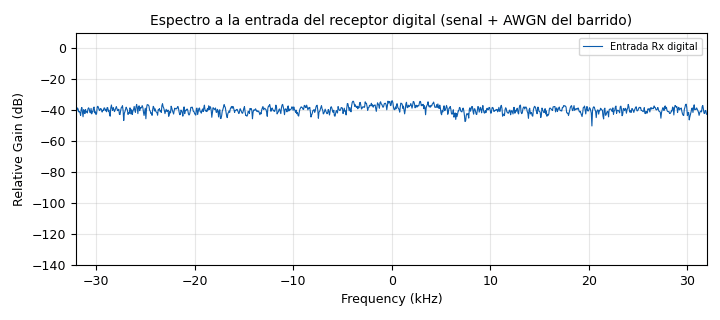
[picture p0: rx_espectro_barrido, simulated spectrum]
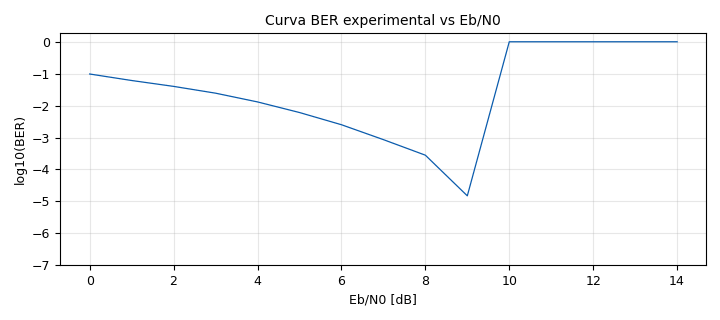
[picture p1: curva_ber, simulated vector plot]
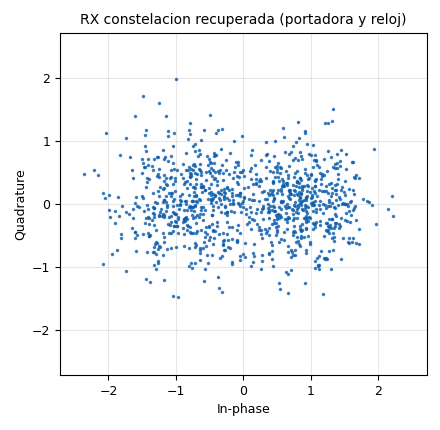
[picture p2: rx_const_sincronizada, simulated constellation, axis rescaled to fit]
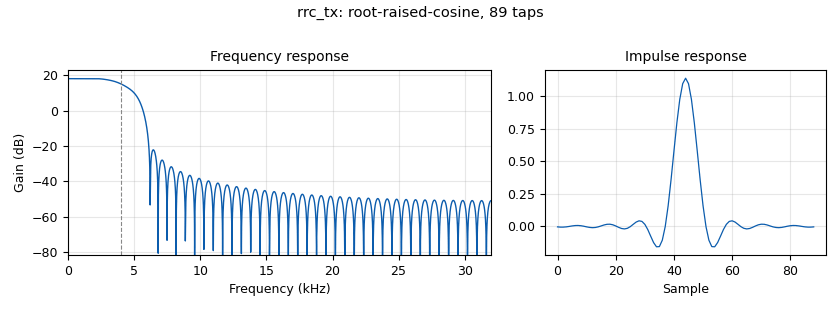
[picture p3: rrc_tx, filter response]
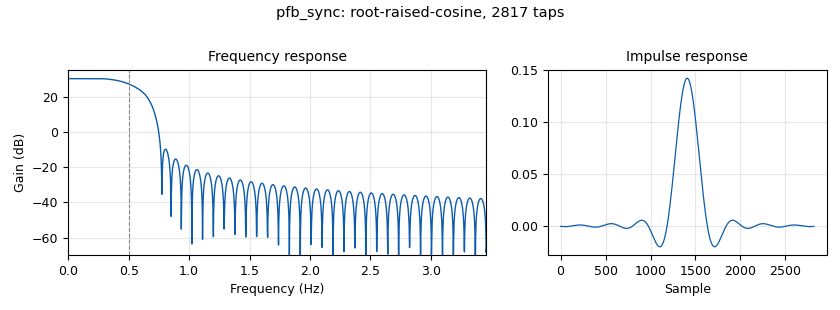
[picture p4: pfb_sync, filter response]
options:
  parameters:
    author: Luis Arley Martinez Caballero - Johan Sebastian Gomez Hernandez
    description: Tx BPSK + canal con CFO, desfase y error de reloj + e_EbN0_Sweep + receptor identico al de hardware + e_BER_Curve.
    generate_options: qt_gui
    id: SIM_LAZO_BPSK_BER
    output_language: python
    title: SIMULACION en lazo BPSK - BER vs Eb/N0 (sin hardware)
  states: {}

blocks:
- name: Rs
  id: variable
  parameters:
    comment: Tasa de simbolos (igual al Tx)
    value: '8000'
  states: {}
- name: Sps
  id: variable
  parameters:
    comment: Muestras por simbolo
    value: '8'
  states: {}
- name: samp_rate
  id: variable
  parameters:
    comment: bb_rate = 64 kS/s
    value: Rs*Sps
  states: {}
- name: tabla_bpsk
  id: variable
  parameters:
    comment: 'Mapeo BPSK del escenario: bit0 -> -1, bit1 -> +1'
    value: (-1+0j, 1+0j)
  states: {}
- name: M
  id: variable
  parameters:
    value: len(tabla_bpsk)
  states: {}
- name: bps
  id: variable
  parameters:
    value: int(math.log(M,2))
  states: {}
- name: Rb
  id: variable
  parameters:
    comment: 'BPSK: Rb = Rs = 8 kb/s'
    value: Rs*bps
  states: {}
- name: span
  id: variable
  parameters:
    value: '11'
  states: {}
- name: nfilts
  id: variable
  parameters:
    value: '32'
  states: {}
- name: costas_bw
  id: variable
  parameters:
    comment: 'Lazo de Costas: 2pi/200 (elegido en el estudio de lazos)'
    value: 2*math.pi/200
  states: {}
- name: fll_bw
  id: variable
  parameters:
    comment: 'FLL: 2pi/2500 (elegido en el estudio de lazos)'
    value: 2*math.pi/2500
  states: {}
- name: prbs_seed
  id: variable
  parameters:
    comment: Semilla PRBS-15 (igual en Tx y Rx)
    value: '32767'
  states: {}
- name: const_bpsk
  id: variable_constellation
  parameters:
    const_points: tabla_bpsk
    dims: '1'
    normalization: digital.constellation.AMPLITUDE_NORMALIZATION
    precision: '8'
    rot_sym: '2'
    sym_map: '[0, 1]'
    type: calcdist
  states: {}
- name: beta
  id: variable_qtgui_range
  parameters:
    label: Roll-off beta (igual al Tx)
    start: '0.1'
    step: '0.05'
    stop: '1.0'
    value: '0.5'
  states: {}
- name: import_0
  id: import
  parameters:
    imports: import math
  states: {}
- name: rrc_tx_taps
  id: variable_rrc_filter_taps
  parameters:
    alpha: beta
    gain: Sps
    ntaps: span*Sps
    samp_rate: samp_rate
    sym_rate: Rs
  states: {}
- name: cfo_hz
  id: variable
  parameters:
    comment: Offset de frecuencia simulado (Hz)
    value: '300'
  states: {}
- name: ppm_reloj
  id: variable
  parameters:
    comment: Error de reloj simulado (ppm)
    value: '10'
  states: {}
- name: fase_canal
  id: variable
  parameters:
    comment: Desfase del canal (rad)
    value: '0.7'
  states: {}
- name: acelerar
  id: variable
  parameters:
    comment: Throttle = acelerar x samp_rate (solo simulacion)
    value: '10'
  states: {}
- name: EbN0_min
  id: variable
  parameters:
    value: '0.0'
  states: {}
- name: EbN0_max
  id: variable
  parameters:
    value: '14.0'
  states: {}
- name: EbN0_step
  id: variable
  parameters:
    value: '1.0'
  states: {}
- name: N_EbN0
  id: variable
  parameters:
    value: int(round((EbN0_max-EbN0_min)/EbN0_step))+1
  states: {}
- name: bb_rate
  id: variable
  parameters:
    comment: Tasa I/Q a la entrada del receptor digital = 64 kS/s
    value: samp_rate
  states: {}
- name: bits_por_punto
  id: variable
  parameters:
    value: '100000'
  states: {}
- name: bits_guardia
  id: variable
  parameters:
    value: '1000'
  states: {}
- name: delay_bits
  id: variable
  parameters:
    comment: El retardo Tx/Rx lo estima e_Ref_PRBS15_Rx por correlacion; aqui queda 0
    value: '0'
  states: {}
- name: update_every
  id: variable
  parameters:
    value: '1000'
  states: {}
- name: lat_comp_bits
  id: variable
  parameters:
    comment: 'Retardo igual en ambas ramas: alinea los segmentos del medidor con los del barrido (latencia del Rx)'
    value: '400'
  states: {}
- name: tx_prbs
  id: epy_block
  parameters:
    comment: 'Bits Tx de referencia: PRBS-15'
    _source_code: |
      """
      e_PRBS15_Tx
      Fuente de bits de prueba CONOCIDA para el transmisor BPSK.

      Secuencia PRBS-15 (ITU-T O.150), polinomio x^15 + x^14 + 1,
      registro LFSR iniciado en 'seed' (por defecto todos unos, 0x7FFF).
      Periodo: 2^15 - 1 = 32767 bits.

      Salida 0 : bits 0/1 (byte), uno por simbolo BPSK (Rb = Rs).

      Por que PRBS y no Random Source:
          El Tx y el Rx se ejecutan en computadores distintos. Para calcular una
          BER valida, el receptor debe conocer exactamente la misma secuencia
          (Guia 4, "Tx y Rx en computadores diferentes"). Una PRBS es repetible,
          tiene densidad de unos ~1/2 y cualquier ventana de 15 bits o mas es unica
          dentro del periodo, lo que permite alinear la referencia por correlacion.

      La derivacion de la secuencia binaria ANTES de la modulacion (Guia 4, paso 6)
      es la salida de este bloque.
      """

      import numpy as np
      from gnuradio import gr


      def prbs15(seed=0x7FFF):
          """Devuelve un periodo completo (32767 bits) de la PRBS-15 x^15+x^14+1."""
          state = int(seed) & 0x7FFF
          if state == 0:
              state = 0x7FFF
          out = np.empty(32767, dtype=np.uint8)
          for i in range(32767):
              newbit = ((state >> 14) ^ (state >> 13)) & 1
              state = ((state << 1) | newbit) & 0x7FFF
              out[i] = newbit
          return out


      class blk(gr.sync_block):
          def __init__(self, seed=32767):
              gr.sync_block.__init__(
                  self,
                  name='e_PRBS15_Tx',
                  in_sig=None,
                  out_sig=[np.uint8]
              )
              self.seed = int(seed)
              self.seq = prbs15(self.seed)
              self.L = len(self.seq)
              self.pos = 0
              print('[TX] PRBS-15 x^15+x^14+1, periodo %d bits, seed=0x%04X'
                    % (self.L, self.seed))

          def work(self, input_items, output_items):
              out = output_items[0]
              n = len(out)
              if n <= 0:
                  return 0
              idx = (self.pos + np.arange(n, dtype=np.int64)) % self.L
              out[:] = self.seq[idx]
              self.pos = int((self.pos + n) % self.L)
              return n
    seed: prbs_seed
  states: {}
- name: mapeo_bpsk
  id: digital_chunks_to_symbols_xx
  parameters:
    dimension: '1'
    in_type: byte
    out_type: complex
    symbol_table: tabla_bpsk
  states: {}
- name: rrc_tx
  id: interp_fir_filter_xxx
  parameters:
    interp: Sps
    taps: rrc_tx_taps
    type: ccf
  states: {}
- name: canal
  id: channels_channel_model
  parameters:
    comment: 'Canal sin ruido propio: CFO, desfase y error de reloj (imperfecciones de un enlace SDR)'
    noise_voltage: '0.0'
    freq_offset: cfo_hz/samp_rate
    epsilon: 1.0 + ppm_reloj*1e-6
    taps: '[0.3*cmath.exp(1j*fase_canal)]'
    seed: '0'
  states: {}
- name: import_1
  id: import
  parameters:
    imports: import cmath
  states: {}
- name: throttle
  id: blocks_throttle
  parameters:
    type: complex
    samples_per_second: samp_rate*acelerar
  states: {}
- name: e_EbN0_Sweep
  id: epy_block
  parameters:
    comment: 'INSTRUMENTO: AWGN controlado. Despues de la adaptacion de tasa, antes del receptor digital'
    _source_code: |
      """
      e_EbN0_Sweep
      Instrumento para caracterización BER con un enlace SDR ya funcional.

      Entrada 0 : señal compleja I/Q recibida del SDR (preferiblemente DESPUÉS
                  de la adaptación radio_rate -> bb_rate).
      Salida 0  : la misma señal I/Q con AWGN adicional controlado.
      Salida 1  : valor instantáneo de Eb/N0 [dB] usado en el barrido.

      El bloque NO sustituye el USRP/HackRF ni el receptor. Se inserta entre
      la salida I/Q del SDR y la entrada del receptor digital.

      El barrido se hace por segmentos contiguos. Cada punto se mantiene durante:
          bits_guardia + bits_por_punto

      La potencia de ruido artificial se calcula a partir de la potencia promedio
      medida ANTES de agregar el ruido:

          Eb = Ps / Rb
          N0 = Eb / (Eb/N0)
          Pn = N0 * Fs

      por lo tanto:

          Pn = Ps * Fs / (Rb * 10**(EbN0_dB/10))

      El ruido complejo se genera con varianza total Pn.
      """

      import numpy as np
      from gnuradio import gr


      class blk(gr.sync_block):
          def __init__(self,
                       EbN0_min=0.0,
                       EbN0_max=14.0,
                       EbN0_step=1.0,
                       samp_rate=256000.0,
                       bit_rate=64000.0,
                       bits_por_punto=100000,
                       bits_guardia=1000,
                       signal_power=0.0,
                       seed=2026):
              gr.sync_block.__init__(
                  self,
                  name='e_EbN0_Sweep',
                  in_sig=[np.complex64],
                  out_sig=[np.complex64, np.float32]
              )

              self.EbN0_min = float(EbN0_min)
              self.EbN0_max = float(EbN0_max)
              self.EbN0_step = float(EbN0_step)
              self.samp_rate = float(samp_rate)
              self.bit_rate = float(bit_rate)
              self.bits_por_punto = max(1, int(bits_por_punto))
              self.bits_guardia = max(0, int(bits_guardia))
              self.signal_power_cfg = float(signal_power)

              if self.EbN0_step <= 0:
                  raise ValueError("EbN0_step debe ser > 0")
              if self.samp_rate <= 0 or self.bit_rate <= 0:
                  raise ValueError("samp_rate y bit_rate deben ser > 0")
              if self.EbN0_max < self.EbN0_min:
                  raise ValueError("EbN0_max debe ser >= EbN0_min")

              npts = int(round((self.EbN0_max-self.EbN0_min)/self.EbN0_step)) + 1
              self.eb_axis = self.EbN0_min + self.EbN0_step*np.arange(npts, dtype=np.float64)
              self.segment_bits = self.bits_guardia + self.bits_por_punto

              self.sample_count = 0
              self.power_sum = 0.0
              self.power_count = 0
              self.rng = np.random.default_rng(int(seed))

          def _signal_power(self, x):
              if self.signal_power_cfg > 0:
                  return self.signal_power_cfg

              # Promedio acumulado de la señal recibida ANTES del ruido artificial.
              self.power_sum += float(np.sum(np.abs(x.astype(np.complex128))**2))
              self.power_count += len(x)
              if self.power_count <= 0:
                  return 0.0
              return max(self.power_sum/self.power_count, 1e-20)

          def work(self, input_items, output_items):
              x = input_items[0]
              y = output_items[0]
              eb_out = output_items[1]
              n = len(x)
              if n == 0:
                  return 0

              Ps = self._signal_power(x)

              # Índice absoluto de muestra -> índice equivalente de bit.
              s = self.sample_count + np.arange(n, dtype=np.float64)
              bit_index = np.floor(s*self.bit_rate/self.samp_rate).astype(np.int64)

              segment_index = bit_index // self.segment_bits
              point_index = np.mod(segment_index, len(self.eb_axis))
              ebn0_db = self.eb_axis[point_index]
              ebn0_lin = np.power(10.0, ebn0_db/10.0)

              # Potencia total del ruido complejo por muestra.
              noise_power = Ps*self.samp_rate/(self.bit_rate*ebn0_lin)
              sigma_iq = np.sqrt(np.maximum(noise_power, 0.0)/2.0)

              noise = (
                  self.rng.standard_normal(n)*sigma_iq
                  + 1j*self.rng.standard_normal(n)*sigma_iq
              ).astype(np.complex64)

              y[:] = x + noise
              eb_out[:] = ebn0_db.astype(np.float32)

              self.sample_count += n
              return n
    EbN0_min: EbN0_min
    EbN0_max: EbN0_max
    EbN0_step: EbN0_step
    samp_rate: bb_rate
    bit_rate: Rb
    bits_por_punto: bits_por_punto
    bits_guardia: bits_guardia
    signal_power: '0.0'
    seed: '2026'
  states: {}
- name: ebn0_actual
  id: qtgui_number_sink
  parameters:
    graph_type: qtgui.NUM_GRAPH_HORIZ
    label1: Eb/N0
    max: '20'
    min: '0'
    name: '"Eb/N0 aplicado por el barrido"'
    type: float
    unit1: dB
    update_time: '0.20'
  states: {}
- name: rx_espectro_barrido
  id: qtgui_freq_sink_x
  parameters:
    average: '0.2'
    bw: bb_rate
    fc: '0'
    fftsize: '1024'
    grid: 'True'
    label1: Entrada Rx digital
    name: '"Espectro a la entrada del receptor digital (senal + AWGN del barrido)"'
    type: complex
  states: {}
- name: lat_comp
  id: blocks_delay
  parameters:
    comment: 'Antepone lat_comp_bits ceros: ambas ramas del medidor quedan desplazadas igual'
    type: byte
    delay: lat_comp_bits
  states: {}
- name: rx_ref
  id: epy_block
  parameters:
    comment: Bits Tx de referencia regenerados en el Rx (misma PRBS-15) y alineados automaticamente
    _source_code: |
      """
      e_Ref_PRBS15_Rx
      Regenera en el RECEPTOR la secuencia de bits transmitida (PRBS-15) y la
      alinea automaticamente con los bits recuperados.

      Entrada 0 : bits recuperados por el receptor (byte 0/1), despues de la
                  decision BPSK.
      Salida 0  : bits Tx de referencia regenerados y alineados (byte 0/1).
                  -> se conecta a la entrada 0 de e_BER_Curve.
      Salida 1  : BER acumulada desde el ultimo enganche (float).
                  -1 mientras no hay enganche. Sirve como evidencia de la
                  condicion limpia (BER ~ 0) sin barrido de ruido.

      Por que hace falta (Guia 4, "Tx y Rx en computadores diferentes"):
          Con Tx y Rx en computadores distintos, el instante en que arranca cada
          flujograma es arbitrario, por lo que el retardo Tx->Rx expresado en bits
          cambia en cada ejecucion. Un delay_bits fijo no sirve. Este bloque hace
          la misma tarea que ajustar delay_bits, pero de forma automatica:

          1) Adquisicion: toma los ultimos W bits recibidos y calcula su
             correlacion circular con la PRBS-15 completa (FFT). El maximo de
             |correlacion| da la fase de la secuencia y su signo da la polaridad
             (BPSK tiene ambiguedad de 180 grados: el lazo de Costas puede
             engancharse invertido y entregar todos los bits negados).
             Se acepta el enganche si las discrepancias son <= thr_acq*W.
             Con W=256 y thr_acq=0.25: P(falso enganche) ~ 1e-11 y
             P(no enganchar con BER real 15 %) ~ 1e-5.
          2) Seguimiento: genera la referencia continuando la fase hallada,
             independiente de los bits recibidos (los errores se cuentan de
             verdad, no se "corrigen").
          3) Saltos de ciclo de 180 grados: a baja Eb/N0 el lazo de Costas puede
             saltar media vuelta y desde ese instante TODOS los bits salen
             invertidos. Si en los ultimos Np = 32 bits hay al menos 75 % de
             discrepancias (imposible por ruido: con BER real de 15 % la
             probabilidad es ~1e-12), se invierte la polaridad de la referencia.
             Cada salto cuesta ~25 bits erroneos, que SI se cuentan; es el mismo
             efecto que tendria un sistema real que resuelve la ambiguedad con
             una secuencia conocida. Los saltos se cuentan en self.n_saltos.
          4) Perdida: si en una ventana de D bits la tasa de discrepancia supera
             thr_loss (35 %) con la polaridad ya corregida (deslizamiento de reloj:
             se gano o se perdio un bit), se vuelve a adquirir. Mientras tanto la
             referencia sigue la fase anterior, de modo que los bits de ese
             intervalo cuentan como errores reales.

          Antes del primer enganche la salida es el complemento de los bits
          recibidos (BER = 1): si no hay senal, la curva lo muestra en vez de
          aparentar BER = 0.

          Al engancharse imprime el retardo equivalente en bits (lo que habria que
          poner en delay_bits si el Tx empezara en el mismo instante que el Rx) y
          la polaridad detectada.

      La salida 0 es 1:1 con la entrada (sync_block), por lo que el conteo de bits
      de e_BER_Curve y la segmentacion del barrido de e_EbN0_Sweep no se alteran.
      """

      import numpy as np
      from gnuradio import gr


      def prbs15(seed=0x7FFF):
          """Mismo generador que e_PRBS15_Tx (x^15 + x^14 + 1)."""
          state = int(seed) & 0x7FFF
          if state == 0:
              state = 0x7FFF
          out = np.empty(32767, dtype=np.uint8)
          for i in range(32767):
              newbit = ((state >> 14) ^ (state >> 13)) & 1
              state = ((state << 1) | newbit) & 0x7FFF
              out[i] = newbit
          return out


      class blk(gr.sync_block):
          def __init__(self, seed=32767, W=256, thr_acq=0.25, D=512, thr_loss=0.35, Np=32, thr_pol=0.75):
              gr.sync_block.__init__(
                  self,
                  name='e_Ref_PRBS15_Rx',
                  in_sig=[np.uint8],
                  out_sig=[np.uint8, np.float32]
              )
              self.seq = prbs15(int(seed))
              self.L = len(self.seq)
              self.W = int(W)
              self.thr_acq = float(thr_acq)
              self.D = int(D)
              self.thr_loss = float(thr_loss)
              self.Np = int(Np)
              self.thr_pol_n = int(np.ceil(float(thr_pol) * self.Np))
              self.pbuf = np.zeros(self.Np, dtype=np.int8)   # ventana circular de errores
              self.pidx = 0
              self.psum = 0
              self.pcnt = 0
              self.n_saltos = 0

              # FFT conjugada de la PRBS en +-1 para la correlacion circular.
              seq_pm = 1.0 - 2.0 * self.seq.astype(np.float64)
              self.F_seq = np.fft.fft(seq_pm)

              self.locked = False
              self.ever_locked = False
              self.phase = 0          # indice de la PRBS que corresponde al proximo bit
              self.inv = 0            # 1 si el receptor entrega los bits invertidos
              self.hist = np.zeros(0, dtype=np.uint8)
              self.nrx = 0            # bits recibidos desde el arranque
              self.win_err = 0
              self.win_cnt = 0
              self.err_lock = 0       # errores desde el ultimo enganche
              self.cnt_lock = 0
              self.n_locks = 0
              self.ber_out = -1.0

          # ------------------------------------------------------------------
          def _acquire(self, window):
              W = len(window)
              w_pm = np.zeros(self.L, dtype=np.float64)
              w_pm[:W] = 1.0 - 2.0 * window.astype(np.float64)
              # corr[p] = sum_k seq_pm[(p+k) % L] * w_pm[k]
              corr = np.real(np.fft.ifft(self.F_seq * np.conj(np.fft.fft(w_pm))))
              p0 = int(np.argmax(np.abs(corr)))
              c = corr[p0]
              mism = int(round((W - abs(c)) / 2.0))
              if mism <= self.thr_acq * W:
                  inv = 1 if c < 0 else 0
                  return True, (p0 + W) % self.L, inv, mism
              return False, 0, 0, mism

          def _reset_pol(self):
              self.pbuf[:] = 0
              self.pidx = 0
              self.psum = 0
              self.pcnt = 0

          def _seguir_polaridad(self, base, rx):
              """Referencia = base XOR polaridad, invirtiendo la polaridad cuando en
              los ultimos Np bits hay >= thr_pol*Np discrepancias (salto de 180 grados)."""
              ref = base ^ self.inv
              if self.Np <= 0:
                  return ref
              err = (ref != rx).astype(np.int8)
              Np, thr = self.Np, self.thr_pol_n
              # Camino rapido (casi siempre): ni sumando todo el bloque se llega al umbral.
              if int(err.sum()) + self.psum < thr:
                  if len(err) >= Np:
                      self.pbuf[:] = err[-Np:]
                      self.pidx = 0
                      self.psum = int(self.pbuf.sum())
                      self.pcnt = Np
                  else:
                      for e in err.tolist():
                          self.psum += e - int(self.pbuf[self.pidx])
                          self.pbuf[self.pidx] = e
                          self.pidx = (self.pidx + 1) % Np
                          self.pcnt = min(self.pcnt + 1, Np)
                  return ref
              # Camino lento: bit a bit, con posible inversion de polaridad.
              buf = self.pbuf
              pidx, psum, pcnt, inv = self.pidx, self.psum, self.pcnt, self.inv
              b = base.tolist()
              r = rx.tolist()
              out = np.empty(len(b), dtype=np.uint8)
              for i in range(len(b)):
                  e = 1 if (b[i] ^ inv) != r[i] else 0
                  psum += e - int(buf[pidx])
                  buf[pidx] = e
                  pidx = (pidx + 1) % Np
                  if pcnt < Np:
                      pcnt += 1
                  if pcnt == Np and psum >= thr:
                      inv ^= 1
                      self.n_saltos += 1
                      buf[:] = 0
                      psum = 0
                      pcnt = 0
                  out[i] = b[i] ^ inv
              self.pidx, self.psum, self.pcnt, self.inv = pidx, psum, pcnt, inv
              return out

          def work(self, input_items, output_items):
              rx_all = np.asarray(input_items[0], dtype=np.uint8) & 1
              out_ref = output_items[0]
              out_ber = output_items[1]
              n = min(len(rx_all), len(out_ref), len(out_ber))
              if n <= 0:
                  return 0

              pos = 0
              while pos < n:
                  if self.locked:
                      # Seguimiento, en sub-bloques que terminan en la frontera de
                      # la ventana de deteccion de perdida (D bits).
                      m = min(n - pos, self.D - self.win_cnt)
                      idx = (self.phase + np.arange(m, dtype=np.int64)) % self.L
                      rx = rx_all[pos:pos + m]
                      ref = self._seguir_polaridad(self.seq[idx], rx)
                      out_ref[pos:pos + m] = ref
                      err = int(np.count_nonzero(ref != rx))
                      self.err_lock += err
                      self.cnt_lock += m
                      self.win_err += err
                      self.win_cnt += m
                      self.phase = int((self.phase + m) % self.L)
                      self.nrx += m
                      self.ber_out = self.err_lock / float(max(self.cnt_lock, 1))
                      out_ber[pos:pos + m] = self.ber_out
                      pos += m
                      if self.win_cnt >= self.D:
                          if self.win_err > self.thr_loss * self.win_cnt:
                              self.locked = False
                              self.hist = np.zeros(0, dtype=np.uint8)
                              print('[RX-REF] Perdida de alineacion (%.0f %% de discrepancia en %d bits). '
                                    'Re-adquiriendo...' % (100.0 * self.win_err / self.win_cnt, self.win_cnt))
                          self.win_err = 0
                          self.win_cnt = 0
                  else:
                      # Sin enganche: se intenta adquirir cada W/2 bits nuevos.
                      if len(self.hist) < self.W:
                          m = min(n - pos, self.W - len(self.hist))
                      else:
                          m = min(n - pos, max(1, self.W // 2))
                      rx = rx_all[pos:pos + m]
                      idx = (self.phase + np.arange(m, dtype=np.int64)) % self.L
                      if self.ever_locked:
                          ref = self.seq[idx] ^ self.inv   # se cuentan errores reales
                      else:
                          ref = rx ^ 1                     # sin senal: BER = 1
                      out_ref[pos:pos + m] = ref
                      out_ber[pos:pos + m] = self.ber_out
                      self.phase = int((self.phase + m) % self.L)
                      self.nrx += m
                      self.hist = np.concatenate((self.hist, rx))[-self.W:]
                      pos += m
                      if len(self.hist) >= self.W:
                          ok, p_next, inv, mism = self._acquire(self.hist)
                          if ok:
                              self.locked = True
                              self.ever_locked = True
                              self.phase = p_next
                              self.inv = inv
                              self.err_lock = 0
                              self.cnt_lock = 0
                              self.win_err = 0
                              self.win_cnt = 0
                              self.n_locks += 1
                              self._reset_pol()
                              # Corrige hacia atras la referencia de los bits de la
                              # ventana que aun pertenecen a esta llamada.
                              a = max(0, pos - self.W)
                              k = pos - a
                              back = (p_next - k + np.arange(k, dtype=np.int64)) % self.L
                              out_ref[a:pos] = self.seq[back] ^ inv
                              delay = int((self.nrx - self.phase) % self.L)
                              print('[RX-REF] Enganche #%d: %d/%d discrepancias en la ventana, '
                                    'polaridad %s, retardo equivalente = %d bits (mod %d).'
                                    % (self.n_locks, mism, self.W,
                                       'INVERTIDA (180 grados)' if inv else 'normal',
                                       delay, self.L))
                              self.hist = np.zeros(0, dtype=np.uint8)
              return n
    seed: prbs_seed
    W: '256'
    thr_acq: '0.25'
    D: '512'
    thr_loss: '0.35'
    Np: '32'
    thr_pol: '0.75'
  states: {}
- name: e_BER_Curve
  id: epy_block
  parameters:
    comment: 'INSTRUMENTO: entrada 0 = bits Tx de referencia, entrada 1 = bits Rx'
    _source_code: |
      """
      e_BER_Curve
      Acumulador de curva BER para los sistemas de los estudiantes.

      Entrada 0 : bits transmitidos de referencia (byte 0/1).
      Entrada 1 : bits recuperados por el receptor (byte 0/1).

      Salida 0  : vector BER lineal.
      Salida 1  : vector log10(BER) para QT GUI Vector Sink.

      El bloque usa exactamente el mismo barrido que e_EbN0_Sweep. Para cada punto:
      - ignora bits_guardia al comienzo del segmento;
      - compara bits_por_punto;
      - cuando el barrido vuelve a un punto, sigue acumulando estadísticas.

      delay_bits retrasa internamente la referencia Tx para compensar el retardo
      del receptor. Se ajusta primero en una condición limpia hasta lograr BER≈0.

      Cuando todavía no se observa ningún error, la salida logarítmica utiliza
      3/N como cota superior aproximada para poder mostrar el punto sin afirmar
      que BER=0.
      """

      import numpy as np
      from collections import deque
      from gnuradio import gr


      # NOTA DE COMPATIBILIDAD (grupo): en GNU Radio 3.10 "gr.sync_decimator" es la clase
      # C++ y GRC no la reconoce como bloque Python ("No python block class found in code").
      # La pasarela Python equivalente es gr.decim_block (misma firma: name, in_sig,
      # out_sig, decim). Es el UNICO cambio; el algoritmo de conteo no se modifico.
      class blk(gr.decim_block):
          def __init__(self,
                       EbN0_min=0.0,
                       EbN0_max=14.0,
                       EbN0_step=1.0,
                       bits_por_punto=100000,
                       bits_guardia=1000,
                       delay_bits=0,
                       update_every=1000):
              self.EbN0_min = float(EbN0_min)
              self.EbN0_max = float(EbN0_max)
              self.EbN0_step = float(EbN0_step)
              self.bits_por_punto = max(1, int(bits_por_punto))
              self.bits_guardia = max(0, int(bits_guardia))
              self.delay_bits = max(0, int(delay_bits))
              self.update_every = max(1, int(update_every))

              if self.EbN0_step <= 0:
                  raise ValueError("EbN0_step debe ser > 0")
              if self.EbN0_max < self.EbN0_min:
                  raise ValueError("EbN0_max debe ser >= EbN0_min")

              npts = int(round((self.EbN0_max-self.EbN0_min)/self.EbN0_step)) + 1
              self.eb_axis = self.EbN0_min + self.EbN0_step*np.arange(npts, dtype=np.float64)
              self.N = len(self.eb_axis)
              self.segment_bits = self.bits_guardia + self.bits_por_punto

              gr.decim_block.__init__(
                  self,
                  name='e_BER_Curve',
                  in_sig=[np.int8, np.int8],
                  out_sig=[(np.float32, self.N), (np.float32, self.N)],
                  decim=self.update_every
              )

              self.tx_fifo = deque([0]*self.delay_bits)
              self.raw_items = 0
              self.valid_bit_index = 0

              self.count = np.zeros(self.N, dtype=np.int64)
              self.errors = np.zeros(self.N, dtype=np.int64)

          def _process(self, tx, rx):
              for t, r in zip(tx, rx):
                  tb = int(t) & 1
                  rb = int(r) & 1

                  if self.delay_bits > 0:
                      self.tx_fifo.append(tb)
                      t_aligned = self.tx_fifo.popleft()
                      if self.raw_items < self.delay_bits:
                          self.raw_items += 1
                          continue
                  else:
                      t_aligned = tb

                  bit_index = self.valid_bit_index
                  segment_index = bit_index // self.segment_bits
                  point_index = segment_index % self.N
                  pos = bit_index % self.segment_bits

                  # Dejar que filtros/sincronizadores se estabilicen después
                  # del cambio de nivel de ruido.
                  if pos >= self.bits_guardia:
                      self.count[point_index] += 1
                      if t_aligned != rb:
                          self.errors[point_index] += 1

                  self.valid_bit_index += 1
                  self.raw_items += 1

          def _vectors(self):
              ber = np.zeros(self.N, dtype=np.float32)
              logber = np.zeros(self.N, dtype=np.float32)

              for i in range(self.N):
                  n = int(self.count[i])
                  e = int(self.errors[i])

                  if n <= 0:
                      ber[i] = 0.0
                      logber[i] = 0.0
                  elif e > 0:
                      b = e/float(n)
                      ber[i] = b
                      logber[i] = np.log10(max(b, 1e-12))
                  else:
                      # BER observado = 0; para la gráfica usamos una cota superior.
                      ber[i] = 0.0
                      upper = min(1.0, 3.0/float(n))
                      logber[i] = np.log10(max(upper, 1e-12))

              return ber, logber

          def work(self, input_items, output_items):
              tx = input_items[0]
              rx = input_items[1]
              out_ber = output_items[0]
              out_log = output_items[1]

              nout = len(out_ber)
              D = self.update_every

              for k in range(nout):
                  a = k*D
                  b = min((k+1)*D, len(tx))
                  if a < b:
                      self._process(tx[a:b], rx[a:b])

                  ber, logber = self._vectors()
                  out_ber[k, :] = ber
                  out_log[k, :] = logber

              return nout
    EbN0_min: EbN0_min
    EbN0_max: EbN0_max
    EbN0_step: EbN0_step
    bits_por_punto: bits_por_punto
    bits_guardia: bits_guardia
    delay_bits: delay_bits
    update_every: update_every
  states: {}
- name: ber_desde_enganche
  id: qtgui_number_sink
  parameters:
    graph_type: qtgui.NUM_GRAPH_HORIZ
    label1: BER
    max: '0.5'
    name: '"BER global desde el enganche (todas las Eb/N0 mezcladas) [-1 = sin enganche]"'
    type: float
    update_time: '0.20'
  states: {}
- name: curva_ber
  id: qtgui_vector_sink_f
  parameters:
    grid: 'True'
    label1: '"log10(BER)"'
    name: '"Curva BER experimental vs Eb/N0"'
    update_time: '0.2'
    vlen: N_EbN0
    width1: '3'
    x_axis_label: '"Eb/N0 [dB]"'
    x_start: EbN0_min
    x_step: EbN0_step
    x_units: '"dB"'
    y_axis_label: '"log10(BER)"'
    ymax: '0'
    ymin: '-7'
  states: {}
- name: e_BER_CSV
  id: epy_block
  parameters:
    comment: Guarda automaticamente la curva en curva_BER_simulacion.csv (misma carpeta del .grc)
    _source_code: |
      import numpy as np
      from gnuradio import gr
      from pathlib import Path
      import csv
      import time


      class blk(gr.sync_block):

          def __init__(self,
                       EbN0_min=0.0,
                       EbN0_max=14.0,
                       EbN0_step=1.0,
                       nombre_archivo="curva_BER.csv",
                       guardar_cada=2.0):

              self.EbN0_min = float(EbN0_min)
              self.EbN0_max = float(EbN0_max)
              self.EbN0_step = float(EbN0_step)

              self.N = int(round(
                  (self.EbN0_max - self.EbN0_min) /
                  self.EbN0_step
              )) + 1

              gr.sync_block.__init__(
                  self,
                  name='Guardar curva BER en CSV',
                  in_sig=[
                      (np.float32, self.N),
                      (np.float32, self.N)
                  ],
                  out_sig=None
              )

              self.nombre_archivo = str(nombre_archivo)
              self.guardar_cada = float(guardar_cada)

              # El Embedded Python Block se genera junto al flowgraph de GNU Radio.
              # Por ello el CSV queda en la misma carpeta contenedora del .grc/.py.
              # NOTA DE COMPATIBILIDAD (grupo): GRC ejecuta este codigo sin __file__ al
              # cargar el .grc ("name '__file__' is not defined"). En ejecucion normal
              # __file__ existe y el CSV queda junto al .py generado, como se pretendia.
              try:
                  self.carpeta = Path(__file__).resolve().parent
              except NameError:
                  self.carpeta = Path.cwd()
              self.ruta_csv = self.carpeta / self.nombre_archivo

              self.ultimo_guardado = 0.0
              self.ebn0 = self.EbN0_min + self.EbN0_step * np.arange(self.N)

              print("CSV BER se guardará en:")
              print(self.ruta_csv)

          def guardar(self, ber, logber):
              archivo_temporal = self.ruta_csv.with_suffix(".tmp")

              with open(archivo_temporal, "w", newline="", encoding="utf-8") as f:
                  writer = csv.writer(f)
                  writer.writerow(["EbN0_dB", "BER", "log10_BER"])

                  for eb, b, lb in zip(self.ebn0, ber, logber):
                      writer.writerow([
                          f"{eb:.6f}",
                          f"{float(b):.12e}",
                          f"{float(lb):.12e}"
                      ])

              archivo_temporal.replace(self.ruta_csv)

          def work(self, input_items, output_items):
              ber_vectors = input_items[0]
              log_vectors = input_items[1]

              if len(ber_vectors) == 0:
                  return 0

              ahora = time.time()
              if ahora - self.ultimo_guardado >= self.guardar_cada:
                  self.guardar(ber_vectors[-1], log_vectors[-1])
                  self.ultimo_guardado = ahora

              return len(ber_vectors)
    EbN0_min: EbN0_min
    EbN0_max: EbN0_max
    EbN0_step: EbN0_step
    nombre_archivo: '"curva_BER_simulacion.csv"'
    guardar_cada: '2.0'
  states: {}
- name: agc_entrada
  id: analog_agc_xx
  parameters:
    comment: 'AGC1: normaliza el nivel de entrada (cambia con la ganancia RF y con el AWGN del barrido)'
    gain: '1.0'
    max_gain: '1000'
    rate: '1e-3'
    reference: '1.0'
    type: complex
  states: {}
- name: fll
  id: digital_fll_band_edge_cc
  parameters:
    comment: 'FLL de borde de banda: corrige el offset de frecuencia Tx-Rx (cristales distintos)'
    filter_size: '44'
    rolloff: beta
    samps_per_sym: Sps
    type: cc
    w: fll_bw
  states: {}
- name: pfb_sync
  id: digital_pfb_clock_sync_xxx
  parameters:
    comment: 'Filtro acoplado RRC (banco polifasico) + recuperacion de reloj: 1 muestra/simbolo'
    filter_size: nfilts
    init_phase: nfilts/2
    loop_bw: 2*math.pi/100
    max_dev: '1.5'
    osps: '1'
    sps: Sps
    taps: firdes.root_raised_cosine(nfilts, nfilts*Sps, 1.0, beta, span*Sps*nfilts)
    type: ccf
  states: {}
- name: agc_simbolos
  id: analog_agc_xx
  parameters:
    comment: 'AGC2: amplitud de simbolo ~1 para que la ganancia del lazo de Costas sea estable'
    gain: '1.0'
    max_gain: '100'
    rate: '1e-3'
    reference: '1.0'
    type: complex
  states: {}
- name: costas
  id: digital_costas_loop_cc
  parameters:
    comment: 'Lazo de Costas orden 2 (BPSK): fase residual. Ambiguedad de 180 grados'
    w: costas_bw
    order: '2'
  states: {}
- name: decisor_bpsk
  id: digital_constellation_decoder_cb
  parameters:
    comment: 'Decision BPSK: -1 -> bit 0, +1 -> bit 1 (mismo mapeo del Tx)'
    constellation: const_bpsk
  states: {}
- name: hz_por_rad
  id: blocks_multiply_const_vxx
  parameters:
    comment: rad/muestra -> Hz
    const: samp_rate/(2*math.pi)
    type: float
  states: {}
- name: offset_hz
  id: qtgui_number_sink
  parameters:
    avg: '0.1'
    graph_type: qtgui.NUM_GRAPH_HORIZ
    label1: Offset
    max: '5000'
    min: '-5000'
    name: '"Offset de frecuencia Tx-Rx estimado por la FLL"'
    type: float
    unit1: Hz
    update_time: '0.20'
  states: {}
- name: null_fll
  id: blocks_null_sink
  parameters:
    comment: Salidas de diagnostico no usadas (fase y error de la FLL)
    num_inputs: '2'
    type: float
  states: {}
- name: rx_const_sincronizada
  id: qtgui_const_sink_x
  parameters:
    grid: 'True'
    name: '"RX constelacion recuperada (portadora y reloj)"'
    size: '1024'
    type: complex
    xmax: '1.5'
    xmin: '-1.5'
    ymax: '1.5'
    ymin: '-1.5'
  states: {}

connections:
- [tx_prbs, '0', mapeo_bpsk, '0']
- [mapeo_bpsk, '0', rrc_tx, '0']
- [rrc_tx, '0', canal, '0']
- [canal, '0', throttle, '0']
- [throttle, '0', e_EbN0_Sweep, '0']
- [e_EbN0_Sweep, '0', agc_entrada, '0']
- [e_EbN0_Sweep, '1', ebn0_actual, '0']
- [e_EbN0_Sweep, '0', rx_espectro_barrido, '0']
- [decisor_bpsk, '0', lat_comp, '0']
- [lat_comp, '0', rx_ref, '0']
- [rx_ref, '0', e_BER_Curve, '0']
- [lat_comp, '0', e_BER_Curve, '1']
- [rx_ref, '1', ber_desde_enganche, '0']
- [e_BER_Curve, '1', curva_ber, '0']
- [e_BER_Curve, '0', e_BER_CSV, '0']
- [e_BER_Curve, '1', e_BER_CSV, '1']
- [agc_entrada, '0', fll, '0']
- [fll, '0', pfb_sync, '0']
- [pfb_sync, '0', agc_simbolos, '0']
- [agc_simbolos, '0', costas, '0']
- [costas, '0', decisor_bpsk, '0']
- [fll, '1', hz_por_rad, '0']
- [hz_por_rad, '0', offset_hz, '0']
- [fll, '2', null_fll, '0']
- [fll, '3', null_fll, '1']
- [costas, '0', rx_const_sincronizada, '0']

metadata:
  file_format: 1
  grc_version: 3.10.11.0
